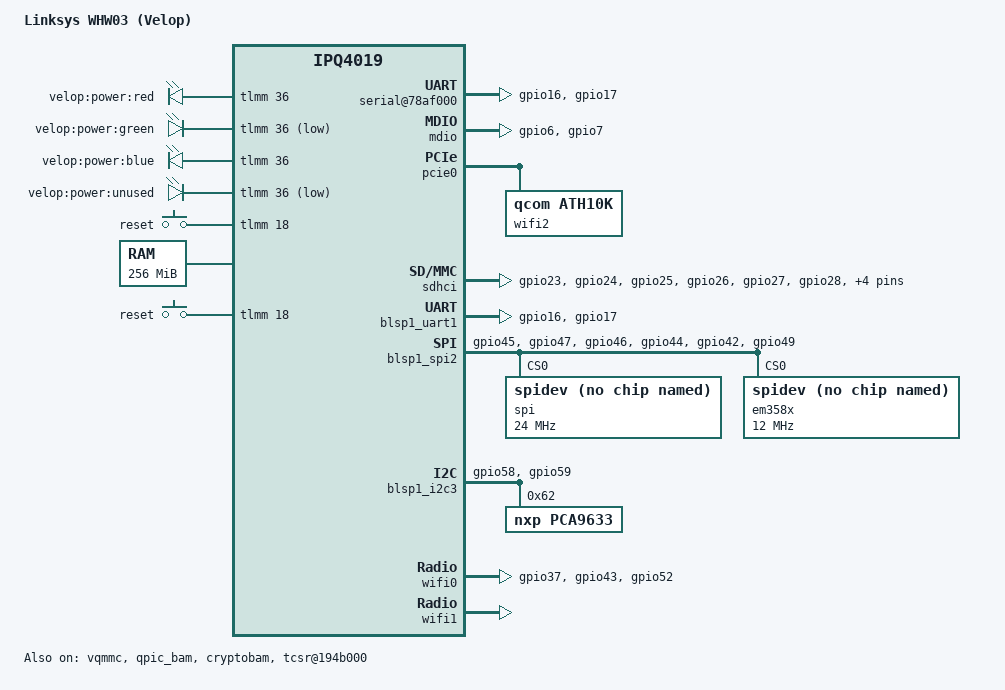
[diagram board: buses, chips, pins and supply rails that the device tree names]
// SPDX-License-Identifier: GPL-2.0-or-later OR MIT

/*
 * Device Tree Source for Linksys WHW03 (Velop)
 *
 * Copyright (C) 2020 Andreas Calvo <flipy.bcn@gmail.com>
 *
 */

#include "qcom-ipq4019.dtsi"
#include <dt-bindings/gpio/gpio.h>
#include <dt-bindings/input/input.h>
#include <dt-bindings/soc/qcom,tcsr.h>

/ {
	model = "Linksys WHW03 (Velop)";
	compatible = "linksys,whw03", "qcom,ipq4019";

	chosen {
		//bootargs = " rootfstype=ext4 root=/dev/mmcblk0p15  rootwait console=ttyMSM0,115200n8";
		bootargs-append = " clk_ignore_unused";
	};

	aliases {
                led-boot = &led_blue;
                led-failsafe = &led_red;
                led-running = &led_green;
                led-upgrade = &led_unused;
                serial0 = &blsp1_uart1;
        };
	
	leds {
                compatible = "gpio-leds";

                // Retain node names from running OEM on EA8300

                // Front panel LEDs, top to bottom

                led_red: red {
			label = "velop:power:red";
                        gpios = <&tlmm 36 0x0>;
                        panic-indicator;
                };

                led_green: green {
			label = "velop:power:green";
                        gpios = <&tlmm 36 0x1>;
                };

                led_blue: blue {
			label = "velop:power:blue";
                        gpios = <&tlmm 36 0x2>;
                };

                led_unused: unused {
			label = "velop:power:unused";
                        gpios = <&tlmm 36 0x3>;
                };
        };

	keys {
		compatible = "gpio-keys";

		button@0 {
			label = "reset";
			linux,code = <KEY_RESTART>;
			gpios = <&tlmm 18 GPIO_ACTIVE_HIGH>;
		};
	};

	memory {
		device_type = "memory";
		reg = <0x80000000 0x10000000>;
	};

	/*reserved-memory {
		#address-cells = <0x1>;
		#size-cells = <0x1>;
		ranges;
		rsvd1@87000000 {
			reg = <0x87000000 0x500000>;
			no-map;
		};
		wifi_dump@87500000 {
			reg = <0x87500000 0x600000>;
			no-map;
		};
		rsvd2@87B00000 {
			reg = <0x87b00000 0x500000>;
			no-map;
		};
	};*/

	soc {
		rng@22000 {
			status = "okay";
		};


		ess-psgmii@98000 {
			status = "okay";
		};

		tcsr@1949000 {
			compatible = "qcom,tcsr";
			reg = <0x1949000 0x100>;
			qcom,wifi_glb_cfg = <TCSR_WIFI_GLB_CFG>;
		};

		tcsr@194b000 {
			/* select hostmode */
			compatible = "qcom,tcsr";
			reg = <0x194b000 0x100>;
			qcom,usb-hsphy-mode-select = <TCSR_USB_HSPHY_HOST_MODE>;
			status = "okay";
		};

		ess_tcsr@1953000 {
			compatible = "qcom,tcsr";
			reg = <0x1953000 0x1000>;
			qcom,ess-interface-select = <TCSR_ESS_PSGMII>;
		};

		tcsr@1957000 {
			compatible = "qcom,tcsr";
			reg = <0x1957000 0x100>;
			qcom,wifi_noc_memtype_m0_m2 = <TCSR_WIFI_NOC_MEMTYPE_M0_M2>;
		};

		serial@78af000 {
			pinctrl-0 = <&serial_0_pins>;
			pinctrl-names = "default";
			status = "okay";
		};

		crypto@8e3a000 {
			status = "okay";
		};

		watchdog@b017000 {
			status = "okay";
		};

		ess-switch@c000000 {
			status = "okay";
		};

		edma@c080000 {
			status = "okay";
		};

	};

	gpio-keys {
		compatible = "gpio-keys";

		reset {
			label = "reset";
			gpios = <&tlmm 18 GPIO_ACTIVE_HIGH>;
			linux,code = <KEY_RESTART>;
		};
	};
};

&mdio {
	status = "okay";
	pinctrl-0 = <&mdio_pins>;
	pinctrl-names = "default";
};

&tlmm {
	wifi0_pins: wifi0_pinmux {
		mux_1 {
			pins = "gpio37";
			output-high;
			function = "wcss0_dbg16";
			bias-pull-up;
			drive-strength = <0x6>;
		};
		mux_2 {
			pins = "gpio43";
			function = "wifi_wci1";
			bias-pull-up;
			drive-strength = <0x6>;
		};
		mux_3 {
			pins = "gpio52";
			output-high;
			function = "gpio";
			bias-pull-up;
			drive-strength = <0x6>;
		};
	};

	serial_0_pins: serial0_pinmux {
		mux {
			pins = "gpio16", "gpio17";
			function = "blsp_uart0";
			bias-disable;
		};
	};

	serial_1_pins: serial1_pinmux {
		mux {
			pins = "gpio8", "gpio9";
			function = "blsp_uart1";
			bias-disable;
		};
	};

	i2c_0_pins: i2c_0_pinmux {
		pinmux {
			function = "blsp_i2c0";
			pins = "gpio58", "gpio59";
			bias-disable;
		};
	};

	/*led_pins: led_0_pinmux {
		mux_3 {
			pins = "gpio36";
			function = "led2";
			bias-pull-down;
		};
	};*/

	spi_0_pins: spi_0_pinmux {
		mux {
			pins = "gpio12", "gpio13", "gpio14", "gpio15";
			function = "blsp_spi0";
			bias-disable;
		};
	};
	
	spi_1_pins: spi_1_pinmux {
		mux {
			pins = "gpio45", "gpio47", "gpio46", "gpio44";
			function = "blsp_spi1";
			bias-disable;
		};
		host_int {
			pins = "gpio42";
			function = "gpio";
			input;
		};
		cs {
			pins = "gpio45";
			function = "gpio";
			bias-pull-up;
		};
		reset {
			pins = "gpio49";
			function = "gpio";
			output-high;
		};
	};

	sd_0_pins: sd_0_pinmux {
		sd0 {
			pins = "gpio23";
			function = "sdio";
			drive-strength = <10>;
		};
		sd1 {
			pins = "gpio24";
			function = "sdio";
			drive-strength = <10>;
		};
		sd2 {
			pins = "gpio25";
			function = "sdio";
			drive-strength = <10>;
		};
		sd3 {
			pins = "gpio26";
			function = "sdio";
			drive-strength = <10>;
		};
		sdclk {
			pins = "gpio27";
			function = "sdio";
			drive-strength = <16>;
		};
		sdcmd {
			pins = "gpio28";
			function = "sdio";
			drive-strength = <10>;
		};
		sd4 {
			pins = "gpio29";
			function = "sdio";
			drive-strength = <10>;
		};
		sd5 {
			pins = "gpio30";
			function = "sdio";
			drive-strength = <10>;
		};
		sd6 {
			pins = "gpio31";
			function = "sdio";
			drive-strength = <10>;
		};
		sd7 {
			pins = "gpio32";
			function = "sdio";
			drive-strength = <10>;
			bias-disable;
		};
	};

	mdio_pins: mdio_pinmux {
		mux_1 {
			pins = "gpio6";
			function = "mdio";
			bias-pull-up;
		};
		mux_2 {
			pins = "gpio7";
			function = "mdc";
			bias-pull-up;
		};
	};
};

&pcie0 {
	status = "okay";
	perst-gpio = <&tlmm 38 GPIO_ACTIVE_LOW>;
	wake-gpio = <&tlmm 40 GPIO_ACTIVE_LOW>;
	//clkreq-gpio = <&tlmm 39 GPIO_ACTIVE_LOW>;

	bridge@0,0 {
		reg = <0x00000000 0 0 0 0>;
		#size-cells = <2>;
		#address-cells = <3>;
		ranges;

		wifi2: wifi@1,0 {
			compatible = "qcom,ath10k";
			reg = <0x00010000 0 0 0 0>;
		};
	};
};

&vqmmc {
	status = "ok";
};

&sdhci {
	vqmmc = <&vqmmc>;
	pinctrl-0 = <&sd_0_pins>;
	pinctrl-names = "default";
	cd-gpios = <0x50 0x16 0x1>;
	sd-ldo-gpios = <0x50 0x21 0x1>;
	status = "ok";
};

&blsp_dma {
	status = "okay";
};

&blsp1_uart1 {
	status = "okay";
	pinctrl-0 = <&serial_0_pins>;
	pinctrl-names = "default";

};

&qpic_bam {
	status = "okay";
};

&blsp1_spi2 {
	pinctrl-0 = <&spi_1_pins>;
	pinctrl-names = "default";
	status = "okay";
	spi@1 {
		compatible = "spidev";
		reg = <0x0>;
		spi-max-frequency = <0x16e3600>;
	};
	em358x@0 {
		compatible = "spidev";
		reg = <0x0>;
		spi-max-frequency = <0xb71b00>;
	};
};

&blsp1_i2c3 {
	pinctrl-0 = <&i2c_0_pins>;
	pinctrl-names = "default";

	status = "okay";

	pca9633 {
		compatible = "nxp,pca9633";
		#address-cells = <0x1>;
		#size-cells = <0x0>;
		reg = <0x62>;
		nxp,hw-blink;
	};
};


&cryptobam {
	status = "okay";
};

&wifi0 {
	status = "okay";
	pinctrl-0 = <&wifi0_pins>;
	pinctrol-names = "default";
	qcom,ath10k-calibration-variant = "linksys-whw03-fcc";
};

&wifi1 {
	status = "okay";
	//ieee80211-freq-limit = <5170000 5330000>;
	qcom,ath10k-calibration-variant = "linksys-whw03-fcc";
};

&wifi2 {
	status = "okay";
	//ieee80211-freq-limit = <5490000 5835000>;
	qcom,ath10k-calibration-variant = "linksys-whw03-fcc";
};
